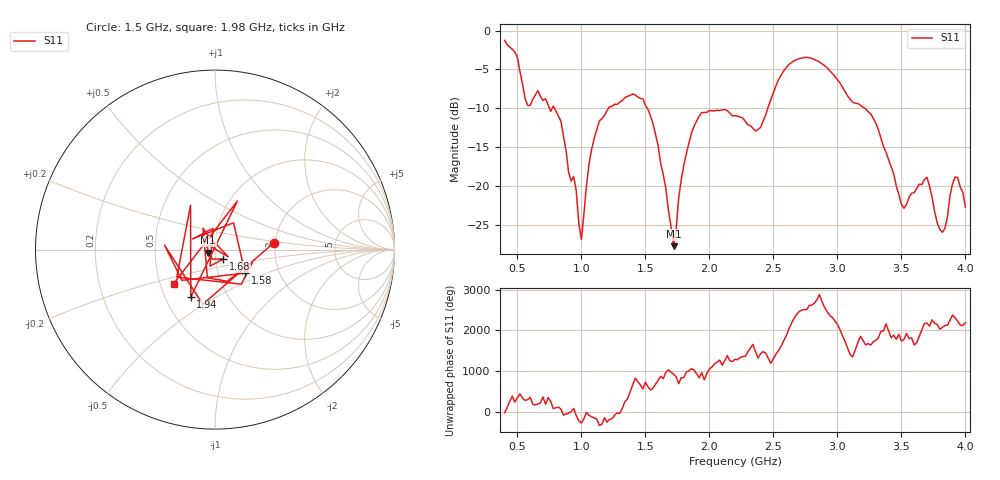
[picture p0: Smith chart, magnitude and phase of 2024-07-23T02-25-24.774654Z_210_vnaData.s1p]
!Created with skrf (http://scikit-rf.org).
# Hz S RI R 50.0
!freq ReS11 ImS11
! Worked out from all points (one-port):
!   181 points, 400 MHz to 4 GHz, reference 50 ohm
!   lowest |S11| = -27.7 dB at 1.72 GHz (marker M1), VSWR 1.09, Z = 46.4 - j1.62 ohm
!   |S11| at or under -10 dB: 790 MHz to 1.212 GHz (421.9 MHz wide, 42.1 % of centre); 1.516 GHz to 2.456 GHz (940.1 MHz wide, 47.3 % of centre); 3.215 GHz to end of sweep (the widest 3 of 4)
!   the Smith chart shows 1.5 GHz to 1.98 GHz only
!   S11 on the Smith chart (normalised r, x): 1.5 GHz: 1.97, +0.17; 1.58 GHz: 1.35, -0.37; 1.68 GHz: 1.09, -0.11; 1.94 GHz: 0.67, -0.39; 1.98 GHz: 0.59, -0.24
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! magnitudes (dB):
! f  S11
! 400 MHz  -1.3
! 500 MHz  -3.4
! 580 MHz  -9.6
! 660 MHz  -7.7
! 860 MHz  -13.6
! 960 MHz  -20.6
! 1 GHz  -26.8
! 1.1 GHz  -13.8
! 1.3 GHz  -9.2
! 1.5 GHz  -9.6
! 1.58 GHz  -13.4
! 1.68 GHz  -23.1
! 1.72 GHz  -27.7
! 1.76 GHz  -21.5
! 1.86 GHz  -13.1
! 1.94 GHz  -10.5
! 1.98 GHz  -10.5
! 2.2 GHz  -10.9
! 2.4 GHz  -12.4
! 2.66 GHz  -3.9
! 3.1 GHz  -8.8
! 3.3 GHz  -11.9
! 3.5 GHz  -22.3
! 3.56 GHz  -21.4
! 3.7 GHz  -18.8
! 3.82 GHz  -25.9
! 3.92 GHz  -18.8
! 4 GHz  -22.7
